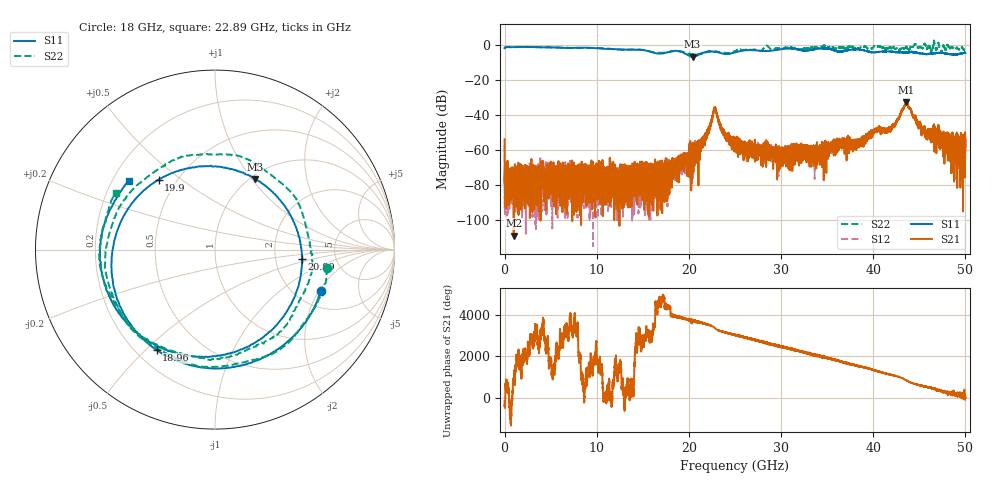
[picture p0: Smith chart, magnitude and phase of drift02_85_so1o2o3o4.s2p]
!Created with skrf (http://scikit-rf.org).
# Hz S RI R 50.0
!freq ReS11 ImS11 ReS21 ImS21 ReS12 ImS12 ReS22 ImS22
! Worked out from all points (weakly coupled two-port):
!   10001 points, 300 kHz to 50 GHz, reference 50 ohm
!   highest |S21| = -32.77 dB at 43.59 GHz (marker M1); lowest = -109.0 dB at 990.3 MHz (marker M2)
!   lowest |S11| = -6.9 dB at 20.4 GHz (marker M3), VSWR 2.65, Z = 52.5 + j51.8 ohm
!   |S11| at or under -10 dB: nowhere
!   |S22| runs from -5.7 to 2.4 dB; largest |S21 - S12| = 0.0031
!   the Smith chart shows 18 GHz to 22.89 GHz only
!   S11 on the Smith chart (normalised r, x): 18 GHz: 2.69, -2.08; 18.96 GHz: 0.28, -0.54; 19.9 GHz: 0.40, +0.42; 20.89 GHz: 2.84, -0.38; 22.89 GHz: 0.26, +0.33
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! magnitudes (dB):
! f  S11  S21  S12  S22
! 300 kHz  -2.1  -54.0  -57.3  -2.0
! 260.3 MHz  -1.4  -73.8  -72.8  -1.4
! 990.3 MHz  -1.5  -109.0  -80.2  -1.5
! 8.335 GHz  -1.7  -73.5  -73.2  -1.9
! 16.67 GHz  -5.2  -72.8  -73.0  -4.7
! 18 GHz  -4.0  -68.8  -71.3  -4.0
! 18.96 GHz  -3.8  -69.2  -66.1  -3.9
! 19.9 GHz  -6.0  -64.9  -64.1  -5.1
! 20.4 GHz  -6.9  -62.6  -60.9  -5.4
! 20.89 GHz  -6.3  -58.4  -61.1  -5.6
! 21.92 GHz  -4.1  -51.0  -51.7  -4.4
! 22.89 GHz  -4.2  -36.8  -36.5  -3.9
! 23.75 GHz  -5.3  -50.0  -49.2  -4.6
! 25 GHz  -4.5  -54.6  -55.5  -3.9
! 29.95 GHz  -2.7  -66.0  -66.3  -2.0
! 33.34 GHz  -3.0  -59.9  -57.7  -1.6
! 38.09 GHz  -2.7  -57.4  -57.9  -2.2
! 40.32 GHz  -4.4  -49.1  -49.5  -0.8
! 41.67 GHz  -3.9  -47.6  -47.8  -2.0
! 43.59 GHz  -4.7  -32.8  -33.6  -1.2
! 45.7 GHz  -5.4  -49.3  -50.0  -0.7
! 50 GHz  -4.7  -57.4  -58.8  -2.7
